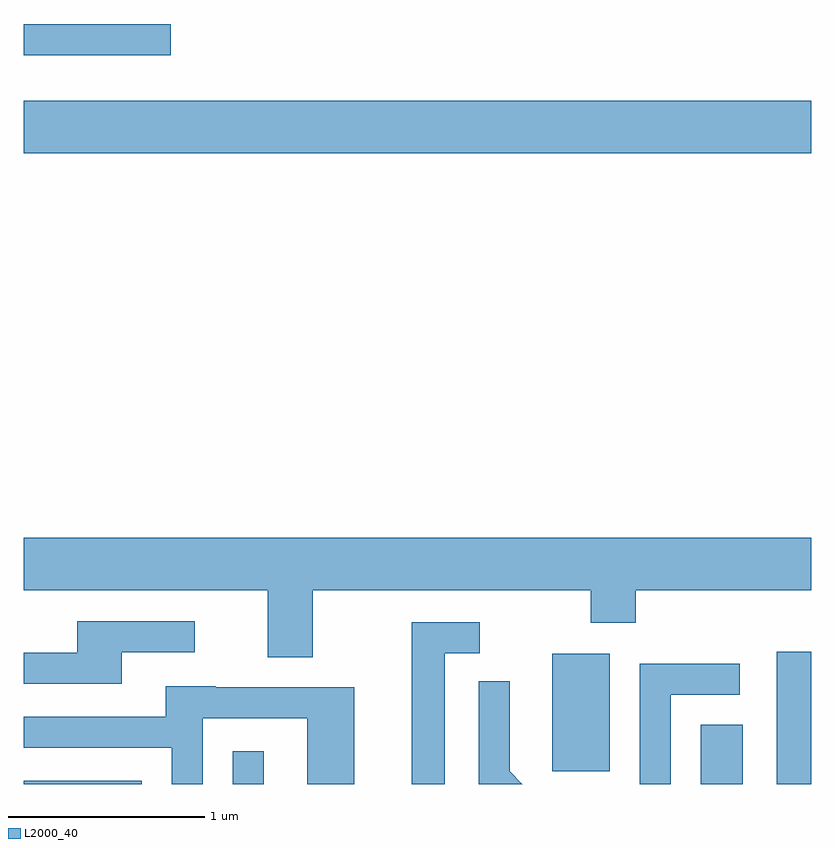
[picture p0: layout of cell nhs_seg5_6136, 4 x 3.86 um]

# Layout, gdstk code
import gdstk
lib = gdstk.Library(unit=1e-6, precision=1e-09)
def R(c, l, rs):  # rectangles x0, y0, x1, y1
    for r in rs: c.add(gdstk.rectangle(r[:2], r[2:], *l))
def P(c, l, *ps):  # polygons
    for p in ps: c.add(gdstk.Polygon(p, *l))
L2000_40 = (2000, 40)

nhs_seg5_6136 = lib.new_cell('nhs_seg5_6136')
R(nhs_seg5_6136, L2000_40, [(367.611,1418.072,368.209,1418.089), (368.671,1418.072,368.829,1418.238), (371.051,1418.072,371.264,1418.374), (371.436,1418.072,371.611,1418.744), (370.296,1418.136,370.589,1418.734), (367.611,1421.276,371.611,1421.544), (367.611,1421.776,368.358,1421.934)])
P(nhs_seg5_6136, L2000_40, [(369.079,1419.056),(370.491,1419.056),(370.491,1418.891),(370.719,1418.891),(370.719,1419.056),(371.611,1419.056),(371.611,1419.324),(367.611,1419.324),(367.611,1419.056),(368.851,1419.056),(368.851,1418.716),(369.079,1418.716)],
  [(368.109,1418.741),(368.478,1418.741),(368.478,1418.899),(367.881,1418.899),(367.881,1418.739),(367.611,1418.739),(367.611,1418.581),(368.109,1418.581)],
  [(369.749,1418.736),(369.928,1418.736),(369.928,1418.894),(369.581,1418.894),(369.581,1418.072),(369.749,1418.072)],
  [(370.899,1418.526),(371.248,1418.526),(371.248,1418.684),(370.741,1418.684),(370.741,1418.072),(370.899,1418.072)],
  [(370.079,1418.137),(370.079,1418.593),(369.921,1418.593),(369.921,1418.072),(370.144,1418.072)],
  [(368.519,1418.406),(369.051,1418.406),(369.051,1418.072),(369.289,1418.072),(369.289,1418.564),(368.585,1418.564),(368.585,1418.569),(368.331,1418.569),(368.331,1418.414),(367.611,1418.414),(367.611,1418.256),(368.361,1418.256),(368.361,1418.072),(368.519,1418.072)])

lib.write_gds('nhs_seg5_6136.gds')
